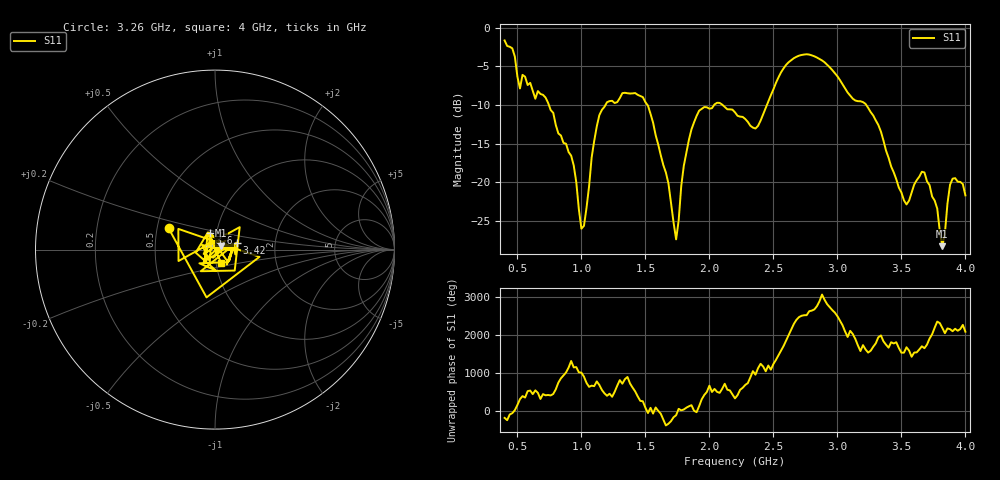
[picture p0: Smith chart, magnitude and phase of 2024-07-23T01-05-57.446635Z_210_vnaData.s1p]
!Created with skrf (http://scikit-rf.org).
# Hz S RI R 50.0
!freq ReS11 ImS11
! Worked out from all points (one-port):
!   181 points, 400 MHz to 4 GHz, reference 50 ohm
!   lowest |S11| = -28.3 dB at 3.82 GHz (marker M1), VSWR 1.08, Z = 53.3 + j2.31 ohm
!   |S11| at or under -10 dB: 745.8 MHz to 1.188 GHz (442.3 MHz wide, 45.7 % of centre); 1.516 GHz to 2.037 GHz (521 MHz wide, 29.3 % of centre); 3.226 GHz to end of sweep (the widest 3 of 4)
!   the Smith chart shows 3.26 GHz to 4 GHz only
!   S11 on the Smith chart (normalised r, x): 3.26 GHz: 0.58, +0.15; 3.42 GHz: 1.27, +0.10; 3.6 GHz: 0.93, +0.17; 4 GHz: 1.06, -0.16
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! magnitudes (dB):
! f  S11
! 400 MHz  -1.7
! 520 MHz  -7.9
! 720 MHz  -9.0
! 860 MHz  -14.9
! 940 MHz  -17.8
! 1 GHz  -26.0
! 1.14 GHz  -11.3
! 1.3 GHz  -9.1
! 1.52 GHz  -10.1
! 1.68 GHz  -20.1
! 1.74 GHz  -27.4
! 1.76 GHz  -24.9
! 1.8 GHz  -17.9
! 1.92 GHz  -10.7
! 2.2 GHz  -11.0
! 2.36 GHz  -13.0
! 2.66 GHz  -3.9
! 2.88 GHz  -4.2
! 3.1 GHz  -8.8
! 3.26 GHz  -10.9
! 3.42 GHz  -18.0
! 3.56 GHz  -22.4
! 3.6 GHz  -20.3
! 3.68 GHz  -18.7
! 3.78 GHz  -23.4
! 3.82 GHz  -28.3
! 3.9 GHz  -19.5
! 4 GHz  -21.7
